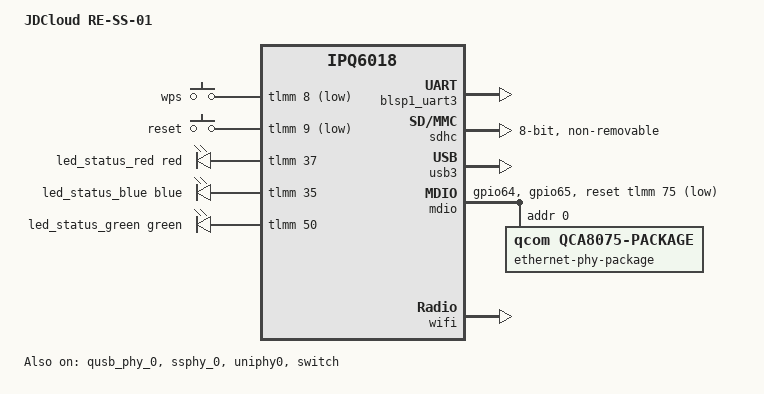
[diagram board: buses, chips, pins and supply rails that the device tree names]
// SPDX-License-Identifier: GPL-2.0-or-later OR MIT

/dts-v1/;

#include "ipq6018-512m.dtsi"
#include "ipq6018-ess.dtsi"

#include <dt-bindings/gpio/gpio.h>
#include <dt-bindings/input/input.h>
#include <dt-bindings/leds/common.h>

/ {
	model = "JDCloud RE-SS-01";
	compatible = "jdcloud,re-ss-01", "qcom,ipq6018";

	aliases {
		ethernet1 = &swport2;
		ethernet2 = &swport3;
		ethernet3 = &swport4;
		ethernet4 = &swport5;
		serial0 = &blsp1_uart3;

		label-mac-device = &swport2;
		led-boot = &led_status_red;
		led-failsafe = &led_status_red;
		led-running = &led_status_green;
		led-upgrade = &led_status_blue;
	};

	keys {
		compatible = "gpio-keys";
		pinctrl-0 = <&button_pins>;
		pinctrl-names = "default";

		wps {
			label = "wps";
			linux,code = <KEY_WPS_BUTTON>;
			gpios = <&tlmm 8 GPIO_ACTIVE_LOW>;
		};

		reset {
			label = "reset";
			linux,code = <KEY_RESTART>;
			gpios = <&tlmm 9 GPIO_ACTIVE_LOW>;
		};
	};

	leds {
		compatible = "gpio-leds";

		led_status_red: red {
			color = <LED_COLOR_ID_RED>;
			function = LED_FUNCTION_STATUS;
			gpios = <&tlmm 37 GPIO_ACTIVE_HIGH>;
		};

		led_status_blue: blue {
			color = <LED_COLOR_ID_BLUE>;
			function = LED_FUNCTION_STATUS;
			gpios = <&tlmm 35 GPIO_ACTIVE_HIGH>;
		};

		led_status_green: green {
			color = <LED_COLOR_ID_GREEN>;
			function = LED_FUNCTION_STATUS;
			gpios = <&tlmm 50 GPIO_ACTIVE_HIGH>;
		};
	};
};

&tlmm {
	gpio-reserved-ranges = <20 1>;

	button_pins: button-pins {
		mux {
			pins = "gpio8", "gpio9";
			function = "gpio";
			drive-strength = <8>;
			bias-pull-up;
		};
	};

	mdio_pins: mdio-pins {
		mdc {
			pins = "gpio64";
			function = "mdc";
			drive-strength = <8>;
			bias-pull-up;
		};

		mdio {
			pins = "gpio65";
			function = "mdio";
			drive-strength = <8>;
			bias-pull-up;
		};
	};
};

&blsp1_uart3 {
	pinctrl-0 = <&serial_3_pins>;
	pinctrl-names = "default";
	status = "okay";
};

&qusb_phy_0 {
	status = "okay";
};

&rpm {
	status = "disabled";
};

&sdhc {
	bus-width = <8>;
	mmc-ddr-1_8v;
	mmc-hs200-1_8v;
	non-removable;
	status = "okay";
};

&ssphy_0 {
	status = "okay";
};

&usb3 {
	status = "okay";
};

&mdio {
	status = "okay";

	pinctrl-0 = <&mdio_pins>;
	pinctrl-names = "default";
	reset-gpios = <&tlmm 75 GPIO_ACTIVE_LOW>;

	ethernet-phy-package@0 {
		compatible = "qcom,qca8075-package";
		#address-cells = <1>;
		#size-cells = <0>;
		reg = <0>;

		qca8075_1: ethernet-phy@1 {
			compatible = "ethernet-phy-ieee802.3-c22";
			reg = <1>;
		};

		qca8075_2: ethernet-phy@2 {
			compatible = "ethernet-phy-ieee802.3-c22";
			reg = <2>;
		};

		qca8075_3: ethernet-phy@3 {
			compatible = "ethernet-phy-ieee802.3-c22";
			reg = <3>;
		};

		qca8075_4: ethernet-phy@4 {
			compatible = "ethernet-phy-ieee802.3-c22";
			reg = <4>;
		};
	};
};

&uniphy0 {
	status = "okay";
};

&switch {
	status = "okay";

	ports {
		#address-cells = <1>;
		#size-cells = <0>;

		port@0 {
			reg = <0>;
			ethernet = <&edma>;
			phy-mode = "internal";

			fixed-link {
				speed = <1000>;
				full-duplex;
			};
		};

		swport2: port@2 {
			reg = <2>;
			label = "lan1";
			phy-handle = <&qca8075_1>;
			phy-mode = "psgmii";
			pcs-handle = <&uniphy0 1>;
		};

		swport3: port@3 {
			reg = <3>;
			label = "lan2";
			phy-handle = <&qca8075_2>;
			phy-mode = "psgmii";
			pcs-handle = <&uniphy0 2>;
		};

		swport4: port@4 {
			reg = <4>;
			label = "lan3";
			phy-handle = <&qca8075_3>;
			phy-mode = "psgmii";
			pcs-handle = <&uniphy0 3>;
		};

		swport5: port@5 {
			reg = <5>;
			label = "wan";
			phy-handle = <&qca8075_4>;
			phy-mode = "psgmii";
			pcs-handle = <&uniphy0 4>;
		};
	};
};

&edma {
	status = "okay";
};

&wifi {
	status = "okay";

	qcom,ath11k-calibration-variant = "JDC-RE-SS-01";
	qcom,ath11k-fw-memory-mode = <1>;
};
